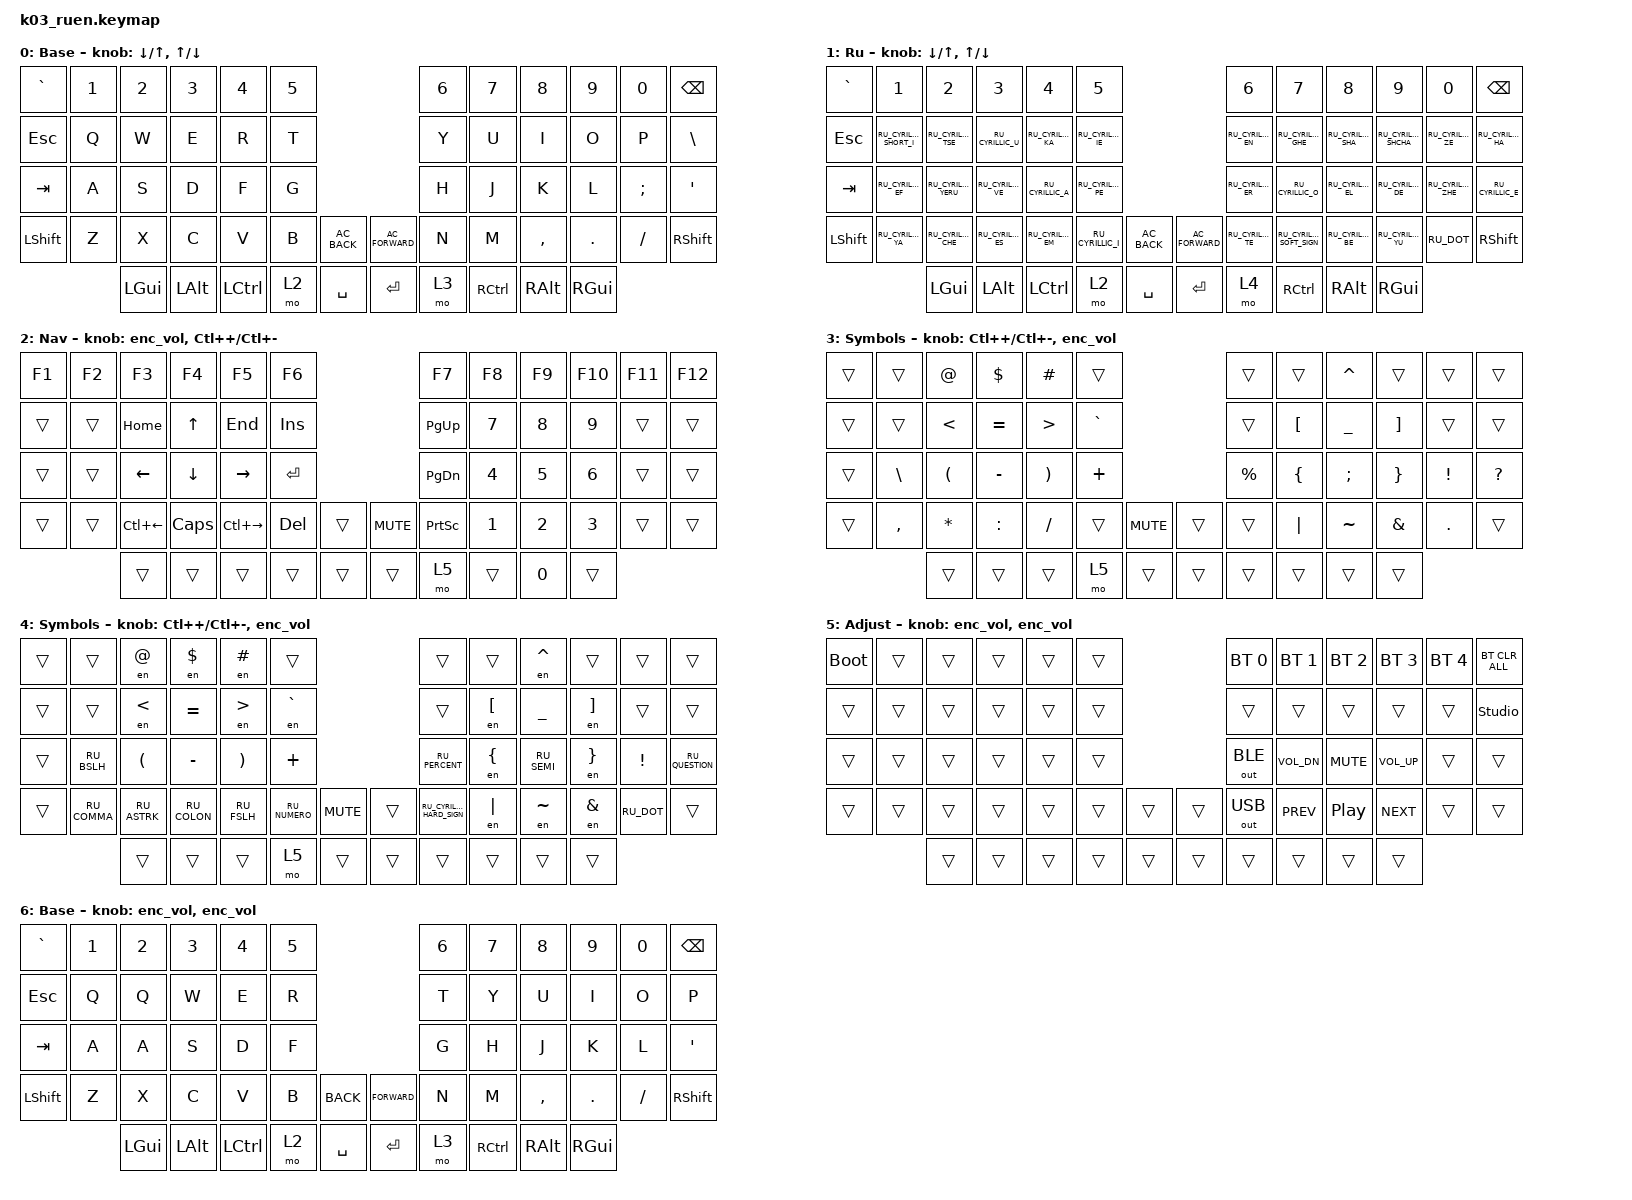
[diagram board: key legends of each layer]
#include "keys_ru.h"
#include <behaviors.dtsi>
#include <dt-bindings/zmk/bt.h>
#include <dt-bindings/zmk/keys.h>
#include <dt-bindings/zmk/outputs.h>
#include <dt-bindings/zmk/pointing.h>

/ {
    behaviors {
        enc_vol: enc_vol {
            compatible = "zmk,behavior-sensor-rotate";
            label = "ENC_VOL";
            #sensor-binding-cells = <0>;
            bindings = <&kp C_VOL_UP>, <&kp C_VOL_DN>;
        };

        ev_scrl_left: ev_scrl_left {
            compatible = "zmk,behavior-sensor-rotate";
            label = "EV_SCRL_LEFT";
            #sensor-binding-cells = <0>;
            bindings = <&msc SCRL_DOWN>, <&msc SCRL_UP>;

            tap-ms = <50>;
        };

        ev_scrl_right: ev_scrl_right {
            compatible = "zmk,behavior-sensor-rotate";
            label = "EV_SCRL_RIGHT";
            #sensor-binding-cells = <0>;
            bindings = <&msc SCRL_UP>, <&msc SCRL_DOWN>;

            tap-ms = <50>;
        };
    };

    combos {
        compatible = "zmk,combos";

        cmben {
            bindings = <&layer_en>;
            key-positions = <15 16>;
            layers = <1>;
        };

        cmbru {
            bindings = <&layer_ru>;
            key-positions = <15 16>;
            layers = <0>;
        };

        gaming {
            bindings = <&tog 6>;
            key-positions = <29 30>;
        };
    };

    macros {
        to_ru: to_ru {
            compatible = "zmk,behavior-macro";
            #binding-cells = <0>;
            bindings = <&kp LS(LC(N2))>;
            label = "TO_RU";
            wait-ms = <0>;
            tap-ms = <30>;
        };

        to_en: to_en {
            compatible = "zmk,behavior-macro";
            #binding-cells = <0>;
            bindings = <&kp LS(LC(N1))>;
            label = "TO_EN";
            wait-ms = <0>;
            tap-ms = <30>;
        };

        layer_en: layer_en {
            compatible = "zmk,behavior-macro";
            #binding-cells = <0>;
            bindings = <&to 0 &to_en>;
            label = "LAYER_EN";
            wait-ms = <0>;
            tap-ms = <30>;
        };

        layer_ru: layer_ru {
            compatible = "zmk,behavior-macro";
            #binding-cells = <0>;
            bindings = <&to 1 &to_ru>;
            label = "LAYER_RU";
            tap-ms = <30>;
            wait-ms = <0>;
        };

        en: en {
            compatible = "zmk,behavior-macro-one-param";
            #binding-cells = <1>;
            bindings =
                <&to_en>,
                <&macro_press>,
                <&macro_param_1to1 &kp MACRO_PLACEHOLDER>,
                <&macro_pause_for_release>,
                <&macro_release>,
                <&macro_param_1to1 &kp MACRO_PLACEHOLDER>,
                <&macro_tap>,
                <&to_ru>;

            label = "EN";
            wait-ms = <0>;
            tap-ms = <30>;
        };
    };

    keymap {
        compatible = "zmk,keymap";

        en {
            bindings = <
&kp GRAVE  &kp N1  &kp N2    &kp N3    &kp N4     &kp N5                                     &kp N6  &kp N7     &kp N8     &kp N9    &kp N0    &kp BSPC
&kp ESC    &kp Q   &kp W     &kp E     &kp R      &kp T                                      &kp Y   &kp U      &kp I      &kp O     &kp P     &kp BSLH
&kp TAB    &kp A   &kp S     &kp D     &kp F      &kp G                                      &kp H   &kp J      &kp K      &kp L     &kp SEMI  &kp SQT
&kp LSHFT  &kp Z   &kp X     &kp C     &kp V      &kp B   &kp C_AC_BACK    &kp C_AC_FORWARD  &kp N   &kp M      &kp COMMA  &kp DOT   &kp FSLH  &kp RSHFT
                   &kp LGUI  &kp LALT  &kp LCTRL  &mo 2   &kp SPACE        &kp ENTER         &mo 3   &kp RCTRL  &kp RALT   &kp RGUI
            >;

            display-name = "Base";
            sensor-bindings =
                <&inc_dec_kp DOWN UP>,
                <&inc_dec_kp UP DOWN_ARROW>;
        };

        ru {
            display-name = "Ru";
            bindings = <
&kp GRAVE  &kp N1                   &kp N2                &kp N3              &kp N4              &kp N5                                                 &kp N6              &kp N7                     &kp N8               &kp N9                 &kp N0               &kp BSPC
&kp ESC    &kp RU_CYRILLIC_SHORT_I  &kp RU_CYRILLIC_TSE   &kp RU_CYRILLIC_U   &kp RU_CYRILLIC_KA  &kp RU_CYRILLIC_IE                                     &kp RU_CYRILLIC_EN  &kp RU_CYRILLIC_GHE        &kp RU_CYRILLIC_SHA  &kp RU_CYRILLIC_SHCHA  &kp RU_CYRILLIC_ZE   &kp RU_CYRILLIC_HA
&kp TAB    &kp RU_CYRILLIC_EF       &kp RU_CYRILLIC_YERU  &kp RU_CYRILLIC_VE  &kp RU_CYRILLIC_A   &kp RU_CYRILLIC_PE                                     &kp RU_CYRILLIC_ER  &kp RU_CYRILLIC_O          &kp RU_CYRILLIC_EL   &kp RU_CYRILLIC_DE     &kp RU_CYRILLIC_ZHE  &kp RU_CYRILLIC_E
&kp LSHFT  &kp RU_CYRILLIC_YA       &kp RU_CYRILLIC_CHE   &kp RU_CYRILLIC_ES  &kp RU_CYRILLIC_EM  &kp RU_CYRILLIC_I   &kp C_AC_BACK    &kp C_AC_FORWARD  &kp RU_CYRILLIC_TE  &kp RU_CYRILLIC_SOFT_SIGN  &kp RU_CYRILLIC_BE   &kp RU_CYRILLIC_YU     &kp RU_DOT           &kp RSHFT
                                    &kp LGUI              &kp LALT            &kp LCTRL           &mo 2               &kp SPACE        &kp ENTER         &mo 4               &kp RCTRL                  &kp RALT             &kp RGUI
            >;

            sensor-bindings =
                <&inc_dec_kp DOWN_ARROW UP>,
                <&inc_dec_kp UP DOWN>;
        };

        nav {
            bindings = <
&kp F1  &kp F2  &kp F3        &kp F4    &kp F5         &kp F6                         &kp F7           &kp F8  &kp F9  &kp F10  &kp F11  &kp F12
&trans  &trans  &kp HOME      &kp UP    &kp END        &kp INS                        &kp PG_UP        &kp N7  &kp N8  &kp N9   &trans   &trans
&trans  &trans  &kp LEFT      &kp DOWN  &kp RIGHT      &kp RET                        &kp PG_DN        &kp N4  &kp N5  &kp N6   &trans   &trans
&trans  &trans  &kp LC(LEFT)  &kp CAPS  &kp LC(RIGHT)  &kp DEL  &trans    &kp C_MUTE  &kp PRINTSCREEN  &kp N1  &kp N2  &kp N3   &trans   &trans
                &trans        &trans    &trans         &trans   &trans    &trans      &mo 5            &trans  &kp N0  &trans
            >;

            display-name = "Nav";
            sensor-bindings = <&enc_vol>, <&inc_dec_kp LC(PLUS) LC(MINUS)>;
        };

        sym_en {
            bindings = <
&trans  &trans     &kp AT    &kp DLLR   &kp HASH  &trans                           &trans     &trans    &kp CARET  &trans    &trans    &trans
&trans  &trans     &kp LT    &kp EQUAL  &kp GT    &kp GRAVE                        &trans     &kp LBKT  &kp UNDER  &kp RBKT  &trans    &trans
&trans  &kp BSLH   &kp LPAR  &kp MINUS  &kp RPAR  &kp PLUS                         &kp PRCNT  &kp LBRC  &kp SEMI   &kp RBRC  &kp EXCL  &kp QUESTION
&trans  &kp COMMA  &kp STAR  &kp COLON  &kp FSLH  &trans     &kp C_MUTE    &trans  &trans     &kp PIPE  &kp TILDE  &kp AMPS  &kp DOT   &trans
                   &trans    &trans     &trans    &mo 5      &trans        &trans  &trans     &trans    &trans     &trans
            >;

            display-name = "Symbols";
            sensor-bindings = <&inc_dec_kp LC(PLUS) LC(MINUS)>, <&enc_vol>;
        };

        sym_ru {
            display-name = "Symbols";
            bindings = <
&trans  &trans        &en AT        &en DLLR      &en HASH     &trans                               &trans                     &trans    &en CARET    &trans    &trans      &trans
&trans  &trans        &en LT        &kp EQUAL     &en GT       &en GRAVE                            &trans                     &en LBKT  &kp UNDER    &en RBKT  &trans      &trans
&trans  &kp RU_BSLH   &kp LPAR      &kp MINUS     &kp RPAR     &kp PLUS                             &kp RU_PERCENT             &en LBRC  &kp RU_SEMI  &en RBRC  &kp EXCL    &kp RU_QUESTION
&trans  &kp RU_COMMA  &kp RU_ASTRK  &kp RU_COLON  &kp RU_FSLH  &kp RU_NUMERO  &kp C_MUTE    &trans  &kp RU_CYRILLIC_HARD_SIGN  &en PIPE  &en TILDE    &en AMPS  &kp RU_DOT  &trans
                      &trans        &trans        &trans       &mo 5          &trans        &trans  &trans                     &trans    &trans       &trans
            >;

            sensor-bindings = <&inc_dec_kp LC(PLUS) LC(MINUS)>, <&enc_vol>;
        };

        adj {
            bindings = <
&bootloader  &trans  &trans  &trans  &trans  &trans                    &bt BT_SEL 0  &bt BT_SEL 1  &bt BT_SEL 2      &bt BT_SEL 3  &bt BT_SEL 4  &bt BT_CLR_ALL
&trans       &trans  &trans  &trans  &trans  &trans                    &trans        &trans        &trans            &trans        &trans        &studio_unlock
&trans       &trans  &trans  &trans  &trans  &trans                    &out OUT_BLE  &kp C_VOL_DN  &kp C_MUTE        &kp C_VOL_UP  &trans        &trans
&trans       &trans  &trans  &trans  &trans  &trans  &trans    &trans  &out OUT_USB  &kp C_PREV    &kp C_PLAY_PAUSE  &kp C_NEXT    &trans        &trans
                     &trans  &trans  &trans  &trans  &trans    &trans  &trans        &trans        &trans            &trans
            >;

            display-name = "Adjust";
            sensor-bindings = <&enc_vol>, <&enc_vol>;
        };

        game {
            display-name = "Base";
            bindings = <
&kp GRAVE  &kp N1  &kp N2    &kp N3    &kp N4     &kp N5                               &kp N6  &kp N7     &kp N8     &kp N9    &kp N0    &kp BSPC
&kp ESC    &kp Q   &kp Q     &kp W     &kp E      &kp R                                &kp T   &kp Y      &kp U      &kp I     &kp O     &kp P
&kp TAB    &kp A   &kp A     &kp S     &kp D      &kp F                                &kp G   &kp H      &kp J      &kp K     &kp L     &kp SQT
&kp LSHFT  &kp Z   &kp X     &kp C     &kp V      &kp B   &kp K_BACK    &kp K_FORWARD  &kp N   &kp M      &kp COMMA  &kp DOT   &kp FSLH  &kp RSHFT
                   &kp LGUI  &kp LALT  &kp LCTRL  &mo 2   &kp SPACE     &kp ENTER      &mo 3   &kp RCTRL  &kp RALT   &kp RGUI
            >;

            sensor-bindings = <&enc_vol>, <&enc_vol>;
        };
    };
};
